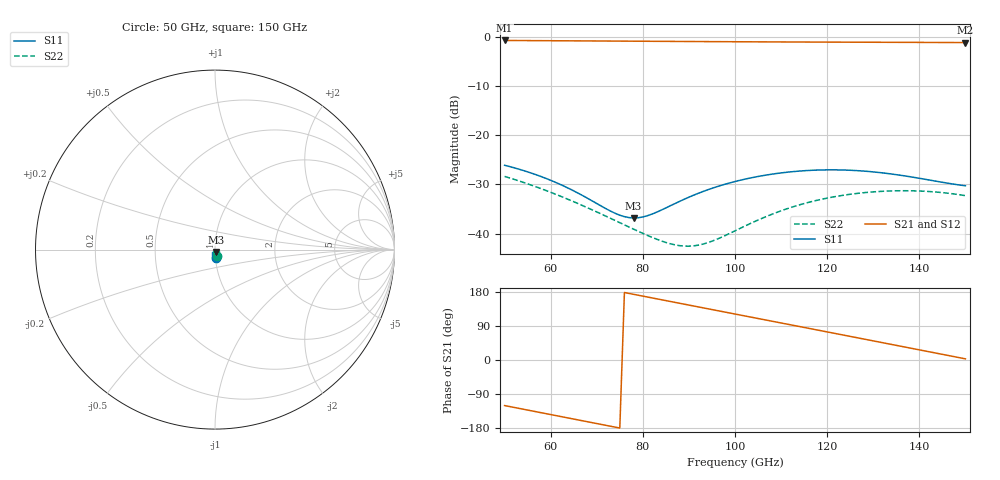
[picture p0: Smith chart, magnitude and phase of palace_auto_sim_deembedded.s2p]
! Created with skrf 1.11.0 (http://scikit-rf.org).
# GHz S DB R 50.0
!freq dBS11 angS11 dBS21 angS21 dBS12 angS12 dBS22 angS22
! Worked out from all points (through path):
!   101 points, 50 GHz to 150 GHz, reference 50 ohm
!   highest |S21| = -0.80 dB at 50 GHz (marker M1); lowest = -1.2 dB at 150 GHz (marker M2)
!   group delay of S21, straight-line fit = 6.57 ps
!   lowest |S11| = -36.8 dB at 78 GHz (marker M3), VSWR 1.03, Z = 50.4 - j1.38 ohm
!   |S11| at or under -10 dB: start of sweep to end of sweep
!   |S22| runs from -42.6 to -28.4 dB; largest |S21 - S12| = 1e-13
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50  -26.14 -85.1  -0.80 -120.3  -0.80 -120.3  -28.41 -74.8
54  -27.19 -91.7  -0.82 -129.8  -0.82 -129.8  -29.60 -79.7
59  -28.82 -98.4  -0.85 -141.6  -0.85 -141.6  -31.27 -84.5
67  -32.33 -102.5  -0.89 -160.6  -0.89 -160.6  -34.36 -87.9
74  -35.90 -89.7  -0.92 -177.2  -0.92 -177.2  -37.36 -84.9
78  -36.84 -72.3  -0.95 173.3  -0.95 173.3  -39.12 -79.6
81  -36.39 -59.0  -0.96 166.2  -0.96 166.2  -40.39 -73.4
84  -35.25 -49.6  -0.98 159.1  -0.98 159.1  -41.51 -64.9
88  -33.46 -43.5  -1.00 149.6  -1.00 149.6  -42.47 -49.9
91  -32.23 -42.3  -1.01 142.6  -1.01 142.6  -42.51 -37.0
95  -30.82 -43.4  -1.03 133.1  -1.03 133.1  -41.56 -21.7
100  -29.45 -47.3  -1.06 121.3  -1.06 121.3  -39.46 -10.2
105  -28.42 -52.6  -1.08 109.5  -1.08 109.5  -37.27 -6.8
109  -27.82 -57.4  -1.10 100.1  -1.10 100.1  -35.73 -8.0
113  -27.40 -62.5  -1.11 90.6  -1.11 90.6  -34.46 -11.5
117  -27.15 -67.8  -1.12 81.2  -1.12 81.2  -33.43 -16.4
125  -27.16 -77.9  -1.15 62.3  -1.15 62.3  -32.03 -29.1
129  -27.40 -82.4  -1.16 52.8  -1.16 52.8  -31.62 -36.4
134  -27.92 -86.9  -1.17 41.0  -1.17 41.0  -31.35 -46.3
142  -29.11 -90.3  -1.20 22.0  -1.20 22.0  -31.47 -63.6
146  -29.76 -89.6  -1.21 12.6  -1.21 12.6  -31.79 -73.1
150  -30.31 -87.0  -1.23 3.1  -1.23 3.1  -32.32 -83.3
